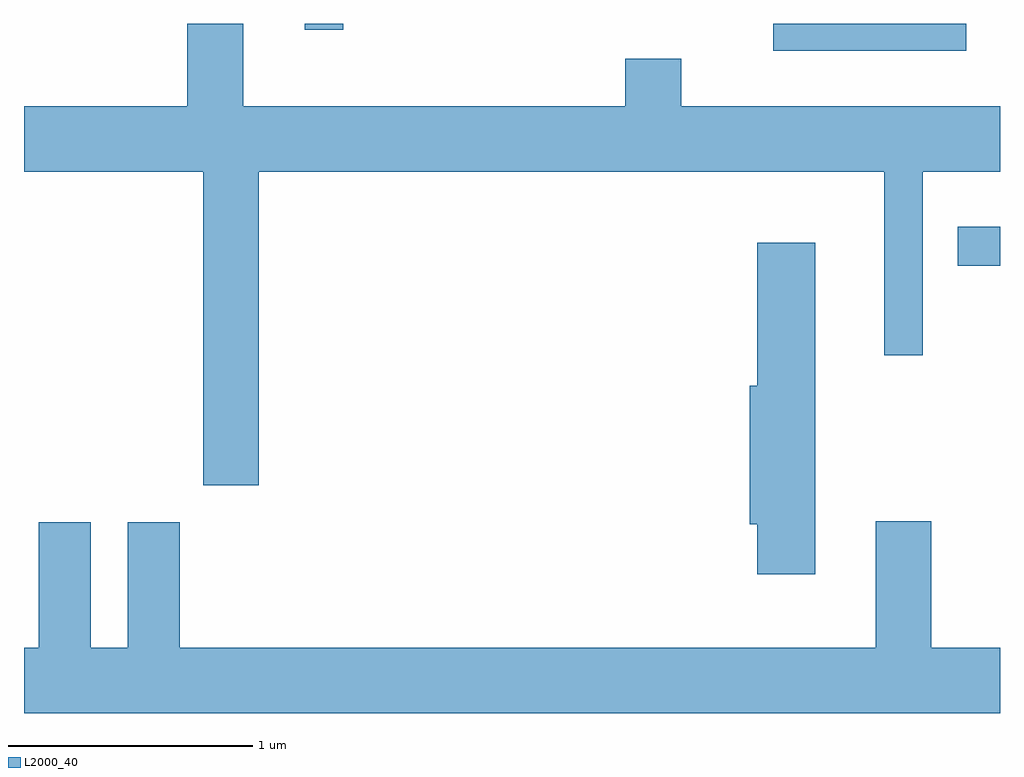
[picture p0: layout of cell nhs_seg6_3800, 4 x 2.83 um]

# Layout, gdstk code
import gdstk
lib = gdstk.Library(unit=1e-6, precision=1e-09)
def R(c, l, rs):  # rectangles x0, y0, x1, y1
    for r in rs: c.add(gdstk.rectangle(r[:2], r[2:], *l))
def P(c, l, *ps):  # polygons
    for p in ps: c.add(gdstk.Polygon(p, *l))
L2000_40 = (2000, 40)

nhs_seg6_3800 = lib.new_cell('nhs_seg6_3800')
R(nhs_seg6_3800, L2000_40, [(303.438,1585.171,303.611,1585.329), (302.681,1586.051,303.473,1586.162), (300.761,1586.138,300.919,1586.162)])
P(nhs_seg6_3800, L2000_40, [(300.574,1585.556),(303.136,1585.556),(303.136,1584.803),(303.294,1584.803),(303.294,1585.556),(303.611,1585.556),(303.611,1585.824),(302.304,1585.824),(302.304,1586.019),(302.076,1586.019),(302.076,1585.824),(300.509,1585.824),(300.509,1586.162),(300.281,1586.162),(300.281,1585.824),(299.611,1585.824),(299.611,1585.556),(300.346,1585.556),(300.346,1584.271),(300.574,1584.271)],
  [(302.854,1585.264),(302.616,1585.264),(302.616,1584.679),(302.586,1584.679),(302.586,1584.111),(302.616,1584.111),(302.616,1583.906),(302.854,1583.906)],
  [(303.611,1583.604),(303.329,1583.604),(303.329,1584.124),(303.101,1584.124),(303.101,1583.604),(300.249,1583.604),(300.249,1584.119),(300.036,1584.119),(300.036,1583.604),(299.884,1583.604),(299.884,1584.119),(299.671,1584.119),(299.671,1583.604),(299.611,1583.604),(299.611,1583.336),(303.611,1583.336)])

lib.write_gds('nhs_seg6_3800.gds')
